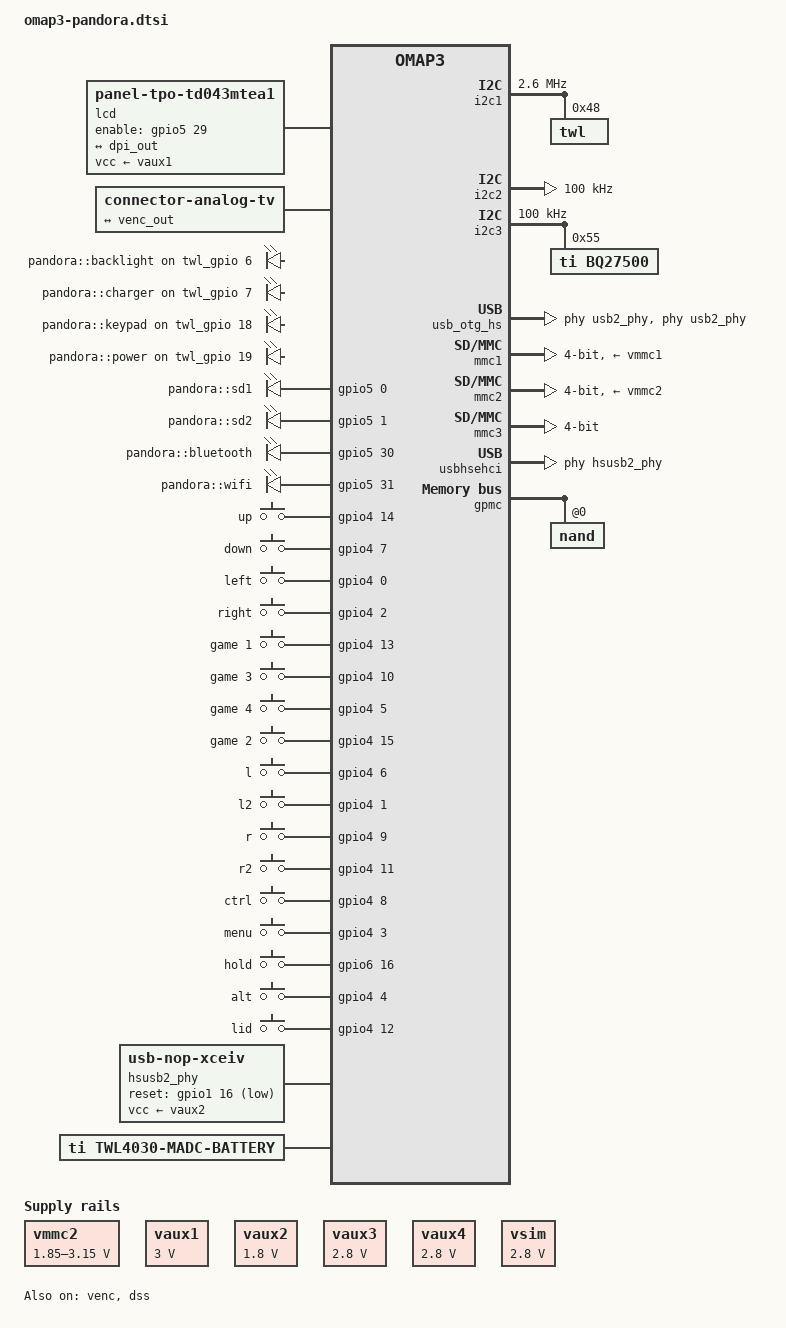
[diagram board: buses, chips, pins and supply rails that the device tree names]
/*
 * Copyright (C) 2014-15
 *   Nikolaus Schaller <hns@goldelico.com>
 *
 * This program is free software; you can redistribute it and/or modify
 * it under the terms of the GNU General Public License version 2 as
 * published by the Free Software Foundation.
 */

/*
 * common device tree include for OpenPandora
 */

/* you must include some OMAP CPU before this
	#include "omap34xx.dtsi"
   or
	#include "omap36xx.dtsi"
*/

#include <dt-bindings/input/input.h>

/ {
	aliases {
		display0 = &lcd;
	// makes problems with omapfb and X11	display1 = &tv;
	};

	lcd: lcd {
// CHECKME: does this panel have SPI?
// then we have to connect it like the panel of the GTA04
		compatible =	"panel-tpo-td043mtea1",
				"panel-dpi";
		label = "lcd";
		enable-gpios = <&gpio5 29 0>;	// gpio 157
		vcc-supply = <&vaux1>;
		panel-timing {
			clock-frequency = <37500000>;

			hback-porch = <10>;
			hactive = <640>;
			hfront-porch = <8>;
			hsync-len = <10>;

			vback-porch = <4>;
			vactive = <480>;
			vfront-porch = <4>;
			vsync-len = <3>;

			hsync-active = <0>;
			vsync-active = <0>;
			de-active = <1>;
			pixelclk-active = <1>;

		};

		port {
			lcd_in: endpoint {
				remote-endpoint = <&dpi_out>;
			};
		};
	};

	tv: connector@1 {
		compatible = "connector-analog-tv";
		label = "tv";

		port {
			tv_connector_in: endpoint {
				remote-endpoint = <&venc_out>;
			};
		};
	};

	gpio-leds { // should be defined in omap5-uevm.dts!

		compatible = "gpio-leds";

		pinctrl-names = "default";
		pinctrl-0 = <&led_pins>;

		led@backlight {
			label = "pandora::backlight";
			gpios = <&twl_gpio 6 GPIO_ACTIVE_HIGH>; /* LED.6 */
			linux,default-trigger = "heartbeat";
			default-state = "on";
		};

		led@charger {
			label = "pandora::charger";
			gpios = <&twl_gpio 7 GPIO_ACTIVE_HIGH>; /* LED.7 */
			linux,default-trigger = "heartbeat";
			default-state = "on";
		};

		led@keypad {
			label = "pandora::keypad";
			gpios = <&twl_gpio 18 GPIO_ACTIVE_HIGH>; /* LEDA */
		};

		led@power {
			label = "pandora::power";
			gpios = <&twl_gpio 19 GPIO_ACTIVE_HIGH>; /* LEDB */
			linux,default-trigger = "heartbeat";
			default-state = "on";
		};

		led@1 {
			label = "pandora::sd1";
			gpios = <&gpio5 0 GPIO_ACTIVE_HIGH>;	/* GPIO_128 */
			linux,default-trigger = "heartbeat";
			default-state = "off";
		};

		led@2 {
			label = "pandora::sd2";
			gpios = <&gpio5 1 GPIO_ACTIVE_HIGH>;
			linux,default-trigger = "heartbeat";		/* GPIO_129 */
			default-state = "off";
		};

		led@3 {
			label = "pandora::bluetooth";
			gpios = <&gpio5 30 GPIO_ACTIVE_HIGH>;
			linux,default-trigger = "heartbeat";	/* GPIO_158 */
			default-state = "off";
		};

		led@4 {
			label = "pandora::wifi";
			gpios = <&gpio5 31 GPIO_ACTIVE_HIGH>;	/* GPIO_159 */
			linux,default-trigger = "heartbeat";
			default-state = "off";
		};
	};

	gpio-keys {
		compatible = "gpio-keys";

		up-button {
			label = "up";
			linux,code = <KEY_UP>;
			gpios = <&gpio4 14 GPIO_ACTIVE_HIGH>;	// GPIO 110
			gpio-key,wakeup;
		};
		down-button {
			label = "down";
			linux,code = <KEY_DOWN>;
			gpios = <&gpio4 7 GPIO_ACTIVE_HIGH>;	// GPIO 103
			gpio-key,wakeup;
		};
		left-button {
			label = "left";
			linux,code = <KEY_LEFT>;
			gpios = <&gpio4 0 GPIO_ACTIVE_HIGH>;	// GPIO 96
			gpio-key,wakeup;
		};
		right-button {
			label = "right";
			linux,code = <KEY_RIGHT>;
			gpios = <&gpio4 2 GPIO_ACTIVE_HIGH>;	// GPIO 98
			gpio-key,wakeup;
		};
		pageup-button {
			label = "game 1";
			linux,code = <KEY_PAGEUP>;
			gpios = <&gpio4 13 GPIO_ACTIVE_HIGH>;	// GPIO 109
			gpio-key,wakeup;
		};
		pagedown-button {
			label = "game 3";
			linux,code = <KEY_PAGEDOWN>;
			gpios = <&gpio4 10 GPIO_ACTIVE_HIGH>;	// GPIO 106
			gpio-key,wakeup;
		};
		home-button {
			label = "game 4";
			linux,code = <KEY_HOME>;
			gpios = <&gpio4 5 GPIO_ACTIVE_HIGH>;	// GPIO 101
			gpio-key,wakeup;
		};
		end-button {
			label = "game 2";
			linux,code = <KEY_END>;
			gpios = <&gpio4 15 GPIO_ACTIVE_HIGH>;	// GPIO 111
			gpio-key,wakeup;
		};
		right-shift {
			label = "l";
			linux,code = <KEY_RIGHTSHIFT>;
			gpios = <&gpio4 6 GPIO_ACTIVE_HIGH>;	// GPIO 102
			gpio-key,wakeup;
		};
		kp-plus {
			label = "l2";
			linux,code = <KEY_KPPLUS>;
			gpios = <&gpio4 1 GPIO_ACTIVE_HIGH>;	// GPIO 97
			gpio-key,wakeup;
		};
		right-ctrl {
			label = "r";
			linux,code = <KEY_RIGHTCTRL>;
			gpios = <&gpio4 9 GPIO_ACTIVE_HIGH>;	// GPIO 105
			gpio-key,wakeup;
		};
		kp-minus {
			label = "r2";
			linux,code = <KEY_KPMINUS>;
			gpios = <&gpio4 11 GPIO_ACTIVE_HIGH>;	// GPIO 107
			gpio-key,wakeup;
		};
		left-ctrl {
			label = "ctrl";
			linux,code = <KEY_LEFTCTRL>;
			gpios = <&gpio4 8 GPIO_ACTIVE_HIGH>;	// GPIO 104
			gpio-key,wakeup;
		};
		menu {
			label = "menu";
			linux,code = <KEY_MENU>;
			gpios = <&gpio4 3 GPIO_ACTIVE_HIGH>;	// GPIO 99
			gpio-key,wakeup;
		};
		hold {
			label = "hold";
			linux,code = <KEY_COFFEE>;
			gpios = <&gpio6 16 GPIO_ACTIVE_HIGH>;	// GPIO 176
			gpio-key,wakeup;
		};
		left-alt {
			label = "alt";
			linux,code = <KEY_LEFTALT>;
			gpios = <&gpio4 4 GPIO_ACTIVE_HIGH>;	// GPIO 100
			gpio-key,wakeup;
		};
		lid { /* should send EV_SW (switch event) and not EV_KEY! */
			label = "lid";
			linux,code = <0>;   // 0 = SW_LID
			gpios = <&gpio4 12 GPIO_ACTIVE_HIGH>;	// GPIO 108
			gpio-key,wakeup;
		};
	};

	hsusb2_phy: hsusb2_phy {
		compatible = "usb-nop-xceiv";
		reset-gpios = <&gpio1 16 GPIO_ACTIVE_LOW>; /* gpio_16 = reset for USB3322 */
		vcc-supply = <&vaux2>;
	};

	madc-hwmon {
		compatible = "ti,twl4030-madc-hwmon";
	};

	battery: battery {
		compatible = "ti,twl4030-madc-battery";
		capacity = <4000000>;
		charging-calibration-data = <4200 100 4100 75 4000 55 3900 25 3800 5 3700 2 3600 1 3300 0>;
		discharging-calibration-data = <4200 100 4100 95 4000 70 3800 50 3700 10 3600 5 3300 0>;
	};

	control: control@48002270 {
		compatible = "ti,omap3-devconf1-syscon", "syscon";
		reg = <0x48002270 0x74>;
	};

/* add USB + PHY */

};

&omap3_pmx_core {

	mmc1_pins: pinmux_mmc1_pins {
		pinctrl-single,pins = <
			0x114 (PIN_INPUT_PULLUP | MUX_MODE0)	/* sdmmc1_clk.sdmmc1_clk */
			0x116 (PIN_INPUT_PULLUP | MUX_MODE0)	/* sdmmc1_cmd.sdmmc1_cmd */
			0x118 (PIN_INPUT_PULLUP | MUX_MODE0) 	/* sdmmc1_dat0.sdmmc1_dat0 */
			0x11a (PIN_INPUT_PULLUP | MUX_MODE0)	/* sdmmc1_dat1.sdmmc1_dat1 */
			0x11c (PIN_INPUT_PULLUP | MUX_MODE0)	/* sdmmc1_dat2.sdmmc1_dat2 */
			0x11e (PIN_INPUT_PULLUP | MUX_MODE0)	/* sdmmc1_dat3.sdmmc1_dat3 */
		>;
	};

	dss_dpi_pins: pinmux_dss_dpi_pins {
		pinctrl-single,pins = <
			0x0a4 (PIN_OUTPUT | MUX_MODE0) /* dss_pclk.dss_pclk */
			0x0a6 (PIN_OUTPUT | MUX_MODE0) /* dss_hsync.dss_hsync */
			0x0a8 (PIN_OUTPUT | MUX_MODE0) /* dss_vsync.dss_vsync */
			0x0aa (PIN_OUTPUT | MUX_MODE0) /* dss_acbias.dss_acbias */
			0x0ac (PIN_OUTPUT | MUX_MODE0) /* dss_data0.dss_data0 */
			0x0ae (PIN_OUTPUT | MUX_MODE0) /* dss_data1.dss_data1 */
			0x0b0 (PIN_OUTPUT | MUX_MODE0) /* dss_data2.dss_data2 */
			0x0b2 (PIN_OUTPUT | MUX_MODE0) /* dss_data3.dss_data3 */
			0x0b4 (PIN_OUTPUT | MUX_MODE0) /* dss_data4.dss_data4 */
			0x0b6 (PIN_OUTPUT | MUX_MODE0) /* dss_data5.dss_data5 */
			0x0b8 (PIN_OUTPUT | MUX_MODE0) /* dss_data6.dss_data6 */
			0x0ba (PIN_OUTPUT | MUX_MODE0) /* dss_data7.dss_data7 */
			0x0bc (PIN_OUTPUT | MUX_MODE0) /* dss_data8.dss_data8 */
			0x0be (PIN_OUTPUT | MUX_MODE0) /* dss_data9.dss_data9 */
			0x0c0 (PIN_OUTPUT | MUX_MODE0) /* dss_data10.dss_data10 */
			0x0c2 (PIN_OUTPUT | MUX_MODE0) /* dss_data11.dss_data11 */
			0x0c4 (PIN_OUTPUT | MUX_MODE0) /* dss_data12.dss_data12 */
			0x0c6 (PIN_OUTPUT | MUX_MODE0) /* dss_data13.dss_data13 */
			0x0c8 (PIN_OUTPUT | MUX_MODE0) /* dss_data14.dss_data14 */
			0x0ca (PIN_OUTPUT | MUX_MODE0) /* dss_data15.dss_data15 */
			0x0cc (PIN_OUTPUT | MUX_MODE0) /* dss_data16.dss_data16 */
			0x0ce (PIN_OUTPUT | MUX_MODE0) /* dss_data17.dss_data17 */
			0x0d0 (PIN_OUTPUT | MUX_MODE0) /* dss_data18.dss_data18 */
			0x0d2 (PIN_OUTPUT | MUX_MODE0) /* dss_data19.dss_data19 */
			0x0d4 (PIN_OUTPUT | MUX_MODE0) /* dss_data20.dss_data20 */
			0x0d6 (PIN_OUTPUT | MUX_MODE0) /* dss_data21.dss_data21 */
			0x0d8 (PIN_OUTPUT | MUX_MODE0) /* dss_data22.dss_data22 */
			0x0da (PIN_OUTPUT | MUX_MODE0) /* dss_data23.dss_data23 */
// make lcd_reset = GPIO157 an output */
		>;
	};

	uart3_pins: pinmux_uart3_pins {
		pinctrl-single,pins = <
			0x16e (PIN_INPUT | PIN_OFF_WAKEUPENABLE | MUX_MODE0) /* uart3_rx_irrx.uart3_rx_irrx */
			0x170 (PIN_OUTPUT | MUX_MODE0) /* uart3_tx_irtx.uart3_tx_irtx */
		>;
	};

	led_pins: pinmux_leds_pins {
		pinctrl-single,pins = <
			OMAP3_CORE1_IOPAD(0x2154, PIN_OUTPUT | MUX_MODE4)	/* gpio_128 */
			OMAP3_CORE1_IOPAD(0x2156, PIN_OUTPUT | MUX_MODE4)	/* gpio_129 */
			OMAP3_CORE1_IOPAD(0x2190, PIN_OUTPUT | MUX_MODE4)	/* gpio_158 */
			OMAP3_CORE1_IOPAD(0x2192, PIN_OUTPUT | MUX_MODE4)	/* gpio_159 */
		>;
	};

};

&omap3_pmx_core2 {
};

&i2c1 {
	clock-frequency = <2600000>;

	twl: twl@48 {
		reg = <0x48>;
		interrupts = <7>; /* SYS_NIRQ cascaded to intc */
		interrupt-parent = <&intc>;

		twl_power: power {
			compatible = "ti,twl4030-power-reset";
			ti,use_poweroff;
		};
		twl_audio: audio {
			compatible = "ti,twl4030-audio";

			codec {
				ti,ramp_delay_value = <3>;
			};
		};
	};
};

#include "twl4030.dtsi"
#include "twl4030_omap3.dtsi"

/* modify basic twl settings as needed by OpenPandora */

&twl_keypad {
	keypad,num-rows = <8>;
	keypad,num-columns = <6>;
	linux,keymap = <
		MATRIX_KEY(1, 1, KEY_A)
		MATRIX_KEY(2, 2, KEY_B)
	 >;
};

&charger { /* backup battery charger */
	ti,bb-uvolt = <3200000>;
	ti,bb-uamp = <150>;
};

&vmmc2 { /* MMC2 */
	regulator-min-microvolt = <1850000>;
	regulator-max-microvolt = <3150000>;
};

&vaux1 { /* LCD */
	regulator-min-microvolt = <3000000>;
	regulator-max-microvolt = <3000000>;
};

&vaux2 { /* USB Host PHY */
	regulator-min-microvolt = <1800000>;
	regulator-max-microvolt = <1800000>;
};

&vaux3 { /* available on expansion connector */
	regulator-min-microvolt = <2800000>;
	regulator-max-microvolt = <2800000>;
};

&vaux4 { /* ADS7846 and nubs */
	regulator-min-microvolt = <2800000>;
	regulator-max-microvolt = <2800000>;
};

&vsim { /* audio DAC */
	regulator-min-microvolt = <2800000>;
	regulator-max-microvolt = <2800000>;
};

&i2c2 {
	clock-frequency = <100000>;
	/* no clients so we should disable clock */
};

&i2c3 {
	clock-frequency = <100000>;

	bq27500@55 {
		compatible = "ti,bq27500";
		reg = <0x55>;
	};

	/*
	 * 2 nubs
	 * mma7455
	 */
};

&usb_otg_hs {
	interface-type = <0>;
	usb-phy = <&usb2_phy>;
	phys = <&usb2_phy>;
	phy-names = "usb2-phy";
	mode = <3>;
	power = <50>;
};

&mmc1 {
	pinctrl-names = "default";
	pinctrl-0 = <&mmc1_pins>;
	vmmc-supply = <&vmmc1>;
	bus-width = <4>;
// WP-GPIO = 126
};

&mmc2 {
	pinctrl-names = "default";
//	pinctrl-0 = <&mmc1_pins>;
	vmmc-supply = <&vmmc2>;
	bus-width = <4>;
// WP-GPIO = 127
// transceiver?
};

&mmc3 {
	pinctrl-names = "default";
//	pinctrl-0 = <&mmc1_pins>;
//	vmmc-supply = <&vmmc1>;	// control nreset gpio (23)
	bus-width = <4>;
	ti,non-removable;
// MMC_CAP_POWER_OFF_CARD
};

&uart1 {
};

&uart2 {
};

&uart3 {
	pinctrl-names = "default";
	pinctrl-0 = <&uart3_pins>;
	interrupts-extended = <&intc 74 &omap3_pmx_core OMAP3_UART3_RX>;
};

&usbhshost {
	port2-mode = "ehci-phy";
};

&usbhsehci {
	phys = <0 &hsusb2_phy>;
};

&charger {
	bb_uvolt = <3200000>;
	bb_uamp = <150>;
};

&venc {
	status = "ok";

	vdda-supply = <&vdac>;

	port {
		venc_out: endpoint {
			remote-endpoint = <&tv_connector_in>;
			ti,channels = <2>;
		};
	};
};

&gpmc {
	ranges = <0 0 0x30000000 0x04>; /* CS0: NAND */

	nand@0,0 {
		reg = <0 0 0>; /* CS0, offset 0 */
		nand-bus-width = <16>;
		ti,nand-ecc-opt = "bch8";
		/* ti,nand-xfer-type = "polled"; */
		/* ti,elm-id = <&elm> */

		gpmc,sync-clk-ps = <0>;
		gpmc,cs-on-ns = <0>;
		gpmc,cs-rd-off-ns = <44>;
		gpmc,cs-wr-off-ns = <44>;
		gpmc,adv-on-ns = <6>;
		gpmc,adv-rd-off-ns = <34>;
		gpmc,adv-wr-off-ns = <44>;
		gpmc,we-off-ns = <40>;
		gpmc,oe-off-ns = <54>;
		gpmc,access-ns = <64>;
		gpmc,rd-cycle-ns = <82>;
		gpmc,wr-cycle-ns = <82>;
		gpmc,wr-access-ns = <40>;
		gpmc,wr-data-mux-bus-ns = <0>;
		gpmc,device-width = <2>;

		#address-cells = <1>;
		#size-cells = <1>;

		/* u-boot uses mtdparts=nand:512k(xloader),1920k(uboot),128k(uboot-env),10m(boot),-(rootfs) */

		x-loader@0 {
			label = "xloader";
			reg = <0 0x80000>;
		};

		bootloaders@80000 {
			label = "uboot";
			reg = <0x80000 0x1e0000>;
		};

		bootloaders_env@260000 {
			label = "uboot-env";
			reg = <0x260000 0x20000>;
		};

		kernel@280000 {
			label = "boot";
			reg = <0x280000 0xa00000>;
		};

		filesystem@680000 {
			label = "rootfs";
			reg = <0xc80000 0>;	/* 0 = MTDPART_SIZ_FULL */
		};
	};
};

&mcspi1 {
	// panel SPI
	// touch screen tsc2046
};

&mcbsp1 {
};

&mcbsp2 {
};

&mcbsp3 {
};

&mcbsp4 {
};

/* Needed to power the DPI pins */
&vpll2 {
	regulator-always-on;
};

&dss {
	pinctrl-names = "default";
	pinctrl-0 = < &dss_dpi_pins >;

	status = "ok";

	port {
		dpi_out: endpoint {
			remote-endpoint = <&lcd_in>;
			data-lines = <24>;
		};
	};
};
